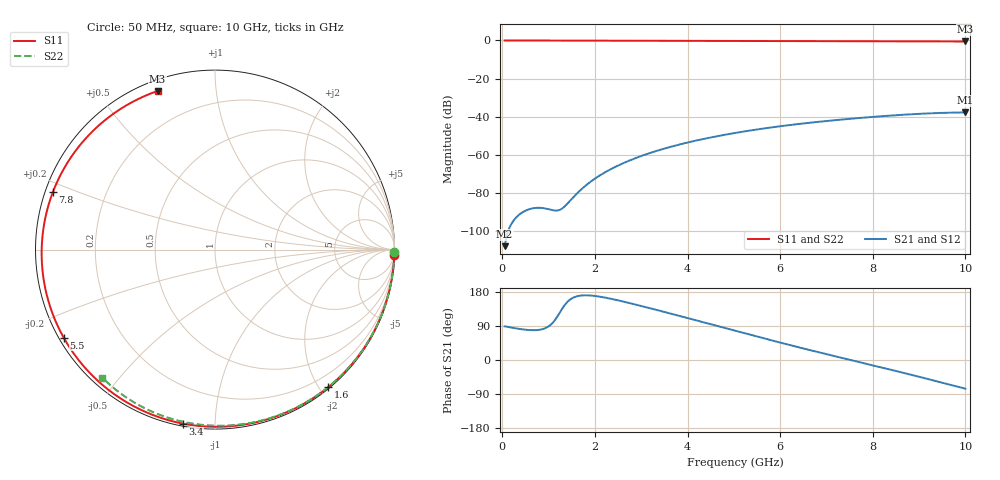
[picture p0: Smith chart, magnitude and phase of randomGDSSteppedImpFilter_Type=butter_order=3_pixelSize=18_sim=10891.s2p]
! freq	dB(S11)	phase(S11)	dB(S12)	phase(S12)
!  dB(S21)	phase(S21)	dB(S22)	phase(S22)
!S-par simulation data
#  GHz  S  DB  R 50
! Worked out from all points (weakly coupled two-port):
!   200 points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, 50 MHz to 10 GHz, reference 50 ohm
!   highest |S21| = -37.78 dB at 10 GHz (marker M1); lowest = -108.0 dB at 50 MHz (marker M2)
!   lowest |S11| = -0.5 dB at 10 GHz (marker M3), VSWR 32.26, Z = 2.31 + j35 ohm
!   |S11| at or under -10 dB: nowhere
!   |S22| runs from -0.4 to 0.0 dB; largest |S21 - S12| = 0
!   S11 on the Smith chart (normalised r, x): 50 MHz: 0, -70; 1.6 GHz: 0.02, -2.12; 3.4 GHz: 0.01, -0.83; 5.5 GHz: 0.01, -0.27; 7.8 GHz: 0.02, +0.17; 10 GHz: 0.05, +0.70
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0.05  -0.00 -1.6  -107.98 88.9  -107.98 88.9  -0.00 -0.8
0.4  -0.02 -13.0  -90.78 81.5  -90.78 81.5  -0.01 -6.1
0.8  -0.03 -25.8  -87.84 79.7  -87.84 79.7  -0.02 -12.1
1.2  -0.05 -38.3  -89.24 116.8  -89.24 116.8  -0.02 -18.1
1.6  -0.06 -50.6  -80.62 167.7  -80.62 167.7  -0.03 -24.0
1.65  -0.06 -52.1  -79.42 169.2  -79.42 169.2  -0.03 -24.7
1.75  -0.07 -55.0  -77.20 170.6  -77.20 170.6  -0.03 -26.2
2.05  -0.08 -63.8  -71.72 168.2  -71.72 168.2  -0.04 -30.6
2.45  -0.09 -75.2  -66.24 158.8  -66.24 158.8  -0.05 -36.4
2.9  -0.11 -87.5  -61.55 145.7  -61.55 145.7  -0.06 -42.8
3.4  -0.12 -100.5  -57.47 130.0  -57.47 130.0  -0.07 -49.9
4.15  -0.15 -119.0  -52.73 105.8  -52.73 105.8  -0.08 -60.2
4.6  -0.17 -129.6  -50.44 91.1  -50.44 91.1  -0.10 -66.2
5.05  -0.19 -139.8  -48.46 76.4  -48.46 76.4  -0.11 -72.2
5.5  -0.22 -149.8  -46.72 61.8  -46.72 61.8  -0.13 -78.0
6.1  -0.25 -162.8  -44.73 42.8  -44.73 42.8  -0.15 -85.6
6.7  -0.29 -175.7  -43.04 24.4  -43.04 24.4  -0.18 -93.0
7.25  -0.33 172.4  -41.70 8.0  -41.70 8.0  -0.21 -99.7
7.8  -0.37 160.4  -40.52 -8.2  -40.52 -8.2  -0.25 -106.2
8.35  -0.41 148.2  -39.49 -24.5  -39.49 -24.5  -0.29 -112.6
9.2  -0.48 128.8  -38.29 -50.5  -38.29 -50.5  -0.36 -122.4
10  -0.54 109.9  -37.78 -75.7  -37.78 -75.7  -0.44 -131.4
